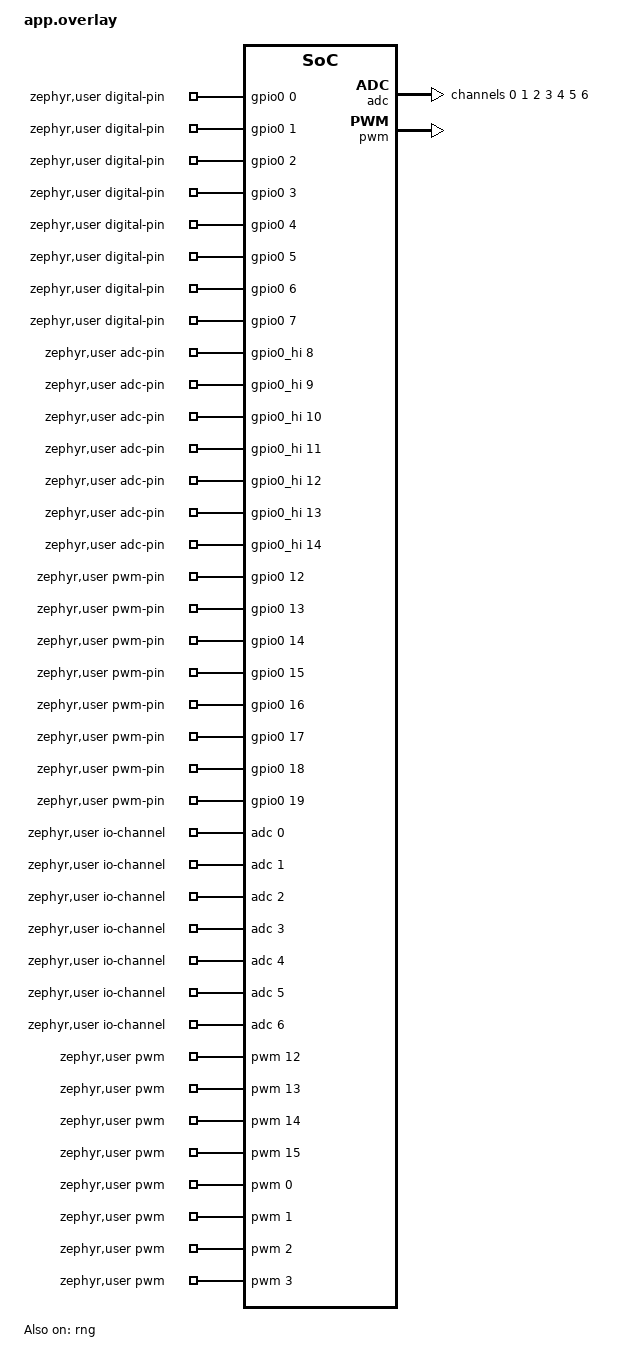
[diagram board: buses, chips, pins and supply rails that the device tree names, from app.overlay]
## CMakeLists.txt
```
# SPDX-License-Identifier: MIT
cmake_minimum_required(VERSION 3.28.0)
list(APPEND BOARD_ROOT "${CMAKE_CURRENT_SOURCE_DIR}/../zephyr")
find_package(Zephyr REQUIRED HINTS $ENV{ZEPHYR_BASE})
project(xrp_production_smallvm LANGUAGES C CXX ASM)
execute_process(COMMAND git -C ${ZEPHYR_BASE} rev-parse HEAD
  OUTPUT_VARIABLE zephyr_commit OUTPUT_STRIP_TRAILING_WHITESPACE COMMAND_ERROR_IS_FATAL ANY)
if(NOT zephyr_commit STREQUAL "a915b2f12675b48b16d56653ea145dcd8f20cbbf")
  message(FATAL_ERROR "Use the XRP pinned Zephyr revision")
endif()
if(NOT CONFIG_BOARD_SPARKFUN_XRP_RP2350B_M33_0 OR CONFIG_BT)
  message(FATAL_ERROR "Production XRP RP2350B only; Bluetooth unsupported")
endif()
if(NOT SMALLVM_SOURCE_DIR OR NOT EXISTS "${SMALLVM_SOURCE_DIR}/provenance.json")
  message(FATAL_ERROR "Set SMALLVM_SOURCE_DIR to the verified v417 snapshot")
endif()
if(NOT XRP_ARDUINO_DIR OR NOT EXISTS "${XRP_ARDUINO_DIR}/xrp-provenance.json")
  message(FATAL_ERROR "Use tools/prepare_xrp_arduino.py to prepare the isolated Arduino API")
endif()
if(NOT IDE_SOURCE_DIR)
  message(FATAL_ERROR "Set IDE_SOURCE_DIR to the verified GP 2.5.8 assets")
endif()
set(repo ${CMAKE_CURRENT_SOURCE_DIR}/../../..)
set(vm_root ${CMAKE_CURRENT_BINARY_DIR}/smallvm)
set(web_root ${CMAKE_CURRENT_BINARY_DIR}/web-xrp)
set(http_root ${CMAKE_CURRENT_BINARY_DIR}/xrp-http)
# Optional verified touch-editor cache; no network access during packaging.
set(mobile_args)
if(MOBILE_EDITOR_SOURCE_DIR)
  list(APPEND mobile_args --mobile-source "${MOBILE_EDITOR_SOURCE_DIR}")
endif()
execute_process(COMMAND ${Python3_EXECUTABLE} ${repo}/tools/prepare_xrp_http.py
  --zephyr ${ZEPHYR_BASE} --output ${http_root} COMMAND_ERROR_IS_FATAL ANY)
if(NOT TARGET subsys__net__lib__http)
  message(FATAL_ERROR "Expected pinned Zephyr HTTP target")
endif()
get_target_property(http_sources subsys__net__lib__http SOURCES)
get_target_property(http_source_dir subsys__net__lib__http SOURCE_DIR)
set(xrp_http_sources)
foreach(source IN LISTS http_sources)
  get_filename_component(name "${source}" NAME)
  if(name STREQUAL "http_server_http1.c" OR name STREQUAL "http_server_core.c")
    list(APPEND xrp_http_sources "${http_root}/${name}")
  elseif(IS_ABSOLUTE "${source}" OR source MATCHES "^\\$<")
    list(APPEND xrp_http_sources "${source}")
  else()
    list(APPEND xrp_http_sources "${http_source_dir}/${source}")
  endif()
endforeach()
set_property(TARGET subsys__net__lib__http PROPERTY SOURCES "${xrp_http_sources}")
target_include_directories(subsys__net__lib__http PRIVATE ${http_source_dir})
execute_process(COMMAND ${Python3_EXECUTABLE} ${repo}/tools/prepare_smallvm.py
  ${SMALLVM_SOURCE_DIR} ${vm_root} --strict-digital-arity COMMAND_ERROR_IS_FATAL ANY)
execute_process(COMMAND ${Python3_EXECUTABLE} ${repo}/tools/prepare_xrp_runtime.py
  ${vm_root} COMMAND_ERROR_IS_FATAL ANY)
execute_process(COMMAND ${Python3_EXECUTABLE} ${repo}/tools/package_xrp_ide.py
  ${IDE_SOURCE_DIR} ${web_root} ${mobile_args} COMMAND_ERROR_IS_FATAL ANY)
target_include_directories(app PRIVATE ${vm_root} ${vm_root}/vm src ${repo}/common)
target_compile_definitions(app PRIVATE SMALLVM_ZEPHYR=1)
target_sources(app PRIVATE src/main.cpp src/platform.c src/transport.c src/io.cpp
  src/generic_primitives.c src/program_store.c src/safety.c src/provisioning.c
  src/server.c src/websocket.c src/capture.c
  ${repo}/common/network_setup.c ${repo}/common/network_setup_store.c
  ${repo}/common/zephyr_network_store.c
  ${web_root}/assets.c ${web_root}/assets.S
  ${vm_root}/vm/encoderPrims.cpp
  ${vm_root}/vm/interp.c ${vm_root}/vm/runtime.c ${vm_root}/vm/mem.c
  ${vm_root}/vm/persist.c ${vm_root}/vm/dataPrims.c ${vm_root}/vm/varPrims.c
  ${vm_root}/vm/tinyJSON.c ${vm_root}/vm/mbFont.c ${vm_root}/vm/boardHooks.c)
zephyr_linker_sources(SECTIONS sections-rom.ld)
zephyr_linker_section(NAME http_resource_desc_mb_http KVMA RAM_REGION GROUP RODATA_REGION)
```

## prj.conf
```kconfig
CONFIG_ARDUINO_API=y
CONFIG_ARDUINO_ENTRY=n
CONFIG_CPP=y
CONFIG_REQUIRES_FULL_LIBC=y
CONFIG_GPIO=y
CONFIG_ADC=y
CONFIG_PWM=y
CONFIG_I2C=y
CONFIG_SPI=y
CONFIG_FLASH=y
CONFIG_FLASH_MAP=y
CONFIG_FLASH_PAGE_LAYOUT=y
CONFIG_CRC=y
CONFIG_MAIN_STACK_SIZE=8192
CONFIG_HEAP_MEM_POOL_SIZE=32768
CONFIG_SYSTEM_WORKQUEUE_STACK_SIZE=2048
CONFIG_SERIAL=y
CONFIG_UART_INTERRUPT_DRIVEN=y
CONFIG_UART_LINE_CTRL=y
CONFIG_USB_DEVICE_STACK_NEXT=y
CONFIG_CDC_ACM_SERIAL_INITIALIZE_AT_BOOT=y
CONFIG_CDC_ACM_SERIAL_PID=0x0004
CONFIG_CDC_ACM_SERIAL_PRODUCT_STRING="XRP RP2350 SmallVM actuators locked"
CONFIG_CONSOLE=n
CONFIG_UART_CONSOLE=n
CONFIG_PRINTK=n
CONFIG_LOG=n
CONFIG_SHELL=n
CONFIG_BOOT_BANNER=n
CONFIG_BT=n
CONFIG_NETWORKING=y
CONFIG_WIFI=y
CONFIG_WHD_WIFI_COUNTRY="WHD_COUNTRY_CANADA"
CONFIG_WIFI_USAGE_MODE_STA=y
CONFIG_NET_L2_WIFI_MGMT=y
CONFIG_NET_MGMT=y
CONFIG_NET_MGMT_EVENT=y
CONFIG_NET_MGMT_EVENT_INFO=y
CONFIG_NET_MGMT_EVENT_STACK_SIZE=2048
CONFIG_NET_IPV4=y
CONFIG_NET_IPV6=n
CONFIG_NET_DHCPV4=y
CONFIG_NET_DHCPV4_INITIAL_DELAY_MAX=2
CONFIG_NET_TCP=y
CONFIG_NET_UDP=y
CONFIG_NET_SOCKETS=y
CONFIG_NET_CONTEXT_SNDTIMEO=y
CONFIG_ZVFS_POLL_MAX=10
CONFIG_NET_MAX_CONTEXTS=12
CONFIG_NET_MAX_CONN=12
CONFIG_NET_PKT_RX_COUNT=8
CONFIG_NET_PKT_TX_COUNT=8
CONFIG_NET_BUF_RX_COUNT=32
CONFIG_NET_BUF_TX_COUNT=32
CONFIG_NET_BUF_DATA_SIZE=256
CONFIG_HTTP_SERVER=y
CONFIG_HTTP_SERVER_VERSION_2=n
CONFIG_HTTP_SERVER_MAX_CLIENTS=4
CONFIG_HTTP_SERVER_CLIENT_BUFFER_SIZE=2048
CONFIG_HTTP_SERVER_MAX_URL_LENGTH=192
CONFIG_HTTP_SERVER_MAX_HEADER_LEN=512
CONFIG_HTTP_SERVER_CLIENT_INACTIVITY_TIMEOUT=60
CONFIG_HTTP_SERVER_CAPTURE_HEADERS=y
CONFIG_HTTP_SERVER_CAPTURE_HEADER_COUNT=4
CONFIG_HTTP_SERVER_CAPTURE_HEADER_BUFFER_SIZE=256
CONFIG_HTTP_SERVER_WEBSOCKET=y
CONFIG_WEBSOCKET_MAX_CONTEXTS=1
CONFIG_HTTP_SERVER_STACK_SIZE=4096
CONFIG_ENTROPY_GENERATOR=y
```

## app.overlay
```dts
/* SPDX-License-Identifier: MIT */
#include <zephyr/dt-bindings/adc/adc.h>
#include <zephyr/dt-bindings/pwm/pwm.h>
/ {
    chosen { zephyr,entropy = &rng; };
    zephyr,user {
        i2cs = <&i2c1>, <&i2c0>;
        digital-pin-gpios = <&gpio0 0 0>, <&gpio0 1 0>, <&gpio0 2 0>, <&gpio0 3 0>, <&gpio0 4 0>, <&gpio0 5 0>, <&gpio0 6 0>, <&gpio0 7 0>, <&gpio0 8 0>, <&gpio0 9 0>, <&gpio0 10 0>, <&gpio0 11 0>, <&gpio0 12 0>, <&gpio0 13 0>, <&gpio0 14 0>, <&gpio0 15 0>, <&gpio0 16 0>, <&gpio0 17 0>, <&gpio0 18 0>, <&gpio0 19 0>, <&gpio0 20 0>, <&gpio0 21 0>, <&gpio0 22 0>, <&gpio0 23 0>, <&gpio0 24 0>, <&gpio0 25 0>, <&gpio0 26 0>, <&gpio0 27 0>, <&gpio0 28 0>, <&gpio0 29 0>, <&gpio0 30 0>, <&gpio0 31 0>, <&gpio0_hi 0 0>, <&gpio0_hi 1 0>, <&gpio0_hi 2 0>, <&gpio0_hi 3 0>, <&gpio0_hi 4 0>, <&gpio0_hi 5 0>, <&gpio0_hi 6 0>, <&gpio0_hi 7 0>, <&gpio0_hi 8 0>, <&gpio0_hi 9 0>, <&gpio0_hi 10 0>, <&gpio0_hi 11 0>, <&gpio0_hi 12 0>, <&gpio0_hi 13 0>, <&gpio0_hi 14 0>, <&gpio0_hi 15 0>;
        adc-pin-gpios = <&gpio0_hi 8 0>, <&gpio0_hi 9 0>, <&gpio0_hi 10 0>, <&gpio0_hi 11 0>, <&gpio0_hi 12 0>, <&gpio0_hi 13 0>, <&gpio0_hi 14 0>;
        io-channels = <&adc 0>, <&adc 1>, <&adc 2>, <&adc 3>, <&adc 4>, <&adc 5>, <&adc 6>;
        pwm-pin-gpios = <&gpio0 12 0>, <&gpio0 13 0>, <&gpio0 14 0>, <&gpio0 15 0>, <&gpio0 16 0>, <&gpio0 17 0>, <&gpio0 18 0>, <&gpio0 19 0>;
        pwms = <&pwm 12 PWM_USEC(1000) PWM_POLARITY_NORMAL>, <&pwm 13 PWM_USEC(1000) PWM_POLARITY_NORMAL>, <&pwm 14 PWM_USEC(1000) PWM_POLARITY_NORMAL>, <&pwm 15 PWM_USEC(1000) PWM_POLARITY_NORMAL>, <&pwm 0 PWM_USEC(1000) PWM_POLARITY_NORMAL>, <&pwm 1 PWM_USEC(1000) PWM_POLARITY_NORMAL>, <&pwm 2 PWM_USEC(1000) PWM_POLARITY_NORMAL>, <&pwm 3 PWM_USEC(1000) PWM_POLARITY_NORMAL>;
    };
};
&zephyr_udc0 { mb_cdc: mb_cdc { compatible="zephyr,cdc-acm-uart"; }; };
/* Required default states initialize the peripherals without claiming GPIO.
 * The isolated Arduino bridge selects only the requested pin at runtime. */
&pinctrl {
    xrp_adc_idle: xrp_adc_idle {};
    xrp_pwm_idle: xrp_pwm_idle {};
};
&adc { #address-cells=<1>; #size-cells=<0>; status="okay";
    pinctrl-0 = <&xrp_adc_idle>;
    pinctrl-names = "default";
        channel@0 { reg=<0>; zephyr,gain="ADC_GAIN_1"; zephyr,reference="ADC_REF_VDD_1"; zephyr,acquisition-time=<ADC_ACQ_TIME_DEFAULT>; zephyr,resolution=<12>; };
        channel@1 { reg=<1>; zephyr,gain="ADC_GAIN_1"; zephyr,reference="ADC_REF_VDD_1"; zephyr,acquisition-time=<ADC_ACQ_TIME_DEFAULT>; zephyr,resolution=<12>; };
        channel@2 { reg=<2>; zephyr,gain="ADC_GAIN_1"; zephyr,reference="ADC_REF_VDD_1"; zephyr,acquisition-time=<ADC_ACQ_TIME_DEFAULT>; zephyr,resolution=<12>; };
        channel@3 { reg=<3>; zephyr,gain="ADC_GAIN_1"; zephyr,reference="ADC_REF_VDD_1"; zephyr,acquisition-time=<ADC_ACQ_TIME_DEFAULT>; zephyr,resolution=<12>; };
        channel@4 { reg=<4>; zephyr,gain="ADC_GAIN_1"; zephyr,reference="ADC_REF_VDD_1"; zephyr,acquisition-time=<ADC_ACQ_TIME_DEFAULT>; zephyr,resolution=<12>; };
        channel@5 { reg=<5>; zephyr,gain="ADC_GAIN_1"; zephyr,reference="ADC_REF_VDD_1"; zephyr,acquisition-time=<ADC_ACQ_TIME_DEFAULT>; zephyr,resolution=<12>; };
        channel@6 { reg=<6>; zephyr,gain="ADC_GAIN_1"; zephyr,reference="ADC_REF_VDD_1"; zephyr,acquisition-time=<ADC_ACQ_TIME_DEFAULT>; zephyr,resolution=<12>; };
};
&pwm {
    status="okay";
    pinctrl-0 = <&xrp_pwm_idle>;
    pinctrl-names = "default";
};
&rng { status="okay"; };
```

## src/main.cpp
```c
// SPDX-License-Identifier: MPL-2.0
#include <Arduino.h>
#include "vm/interp.h"
#include "vm/persist.h"
#include "xrp.h"
#include "provisioning.h"
volatile int xrp_status;
int main(void)
{
    hardwareInit();memInit();primsInit();
    xrp_status=mb_store_load();restoreScripts();startAll();
    int e=xrp_transport_init();if(e){xrp_status=e;return e;}
    xrp_provision_start();
    for(;;){xrp_transport_poll();vmSlice(16);mb_store_poll();k_sleep(K_MSEC(1));}
}
```

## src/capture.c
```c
/* SPDX-License-Identifier: MPL-2.0
 * Pulse-list contract follows SmallVM v417 sensorPrims. Only production XRP
 * echo GPIO1 is accepted, with bounded storage and no VM-thread busy wait. */
#include "vm/interp.h"
#include <zephyr/drivers/gpio.h>
#include <zephyr/kernel.h>

static const struct device *const port=DEVICE_DT_GET(DT_NODELABEL(gpio0));
static struct gpio_callback callback;
static volatile unsigned count;
static volatile bool active;
static uint32_t last_edge;
static int32_t durations[4];
static bool initialized;
static uint32_t now_us(void) { return microsecs(); }
void xrp_capture_stop(void)
{
    active=false;
    if(device_is_ready(port))gpio_pin_interrupt_configure(port,1,GPIO_INT_DISABLE);
}
static void edge(const struct device *dev,struct gpio_callback *cb,uint32_t pins)
{
    ARG_UNUSED(dev);ARG_UNUSED(cb);ARG_UNUSED(pins);
    if(!active || count>=ARRAY_SIZE(durations))return;
    uint32_t now=now_us(),delta=now-last_edge;
    if(delta>30000){xrp_capture_stop();return;}
    int level=gpio_pin_get(port,1);
    if(level<0){xrp_capture_stop();return;}
    durations[count++]=level ? -(int32_t)delta : (int32_t)delta;last_edge=now;
    if(count==ARRAY_SIZE(durations))xrp_capture_stop();
}
OBJ xrp_capture_start(int n,OBJ *a)
{
    if(n!=1)return fail(notEnoughArguments);
    if(!isInt(a[0]))return fail(needsIntegerError);
    if(obj2int(a[0])!=1)return fail(badPinError);
    xrp_capture_stop();
    if(!device_is_ready(port))return fail(primitiveNotImplemented);
    int e=gpio_pin_configure(port,1,GPIO_INPUT);
    if(!e && !initialized){gpio_init_callback(&callback,edge,BIT(1));e=gpio_add_callback(port,&callback);if(!e)initialized=true;}
    if(e)return fail(primitiveNotImplemented);
    unsigned key=irq_lock();count=0;last_edge=now_us();active=true;
    e=gpio_pin_interrupt_configure(port,1,GPIO_INT_EDGE_BOTH);irq_unlock(key);
    if(e){active=false;return fail(primitiveNotImplemented);}return trueObj;
}
OBJ xrp_capture_count(int n,OBJ *a)
{ (void)a;return n ? fail(notEnoughArguments) : int2obj(count); }
OBJ xrp_capture_end(int n,OBJ *a)
{
    (void)a;if(n)return fail(notEnoughArguments);
    unsigned key=irq_lock();xrp_capture_stop();unsigned used=count;count=0;irq_unlock(key);
    OBJ out=newObj(ListType,used+1,falseObj);if(!out)return falseObj;
    FIELD(out,0)=int2obj(used);
    for(unsigned i=0;i<used;++i)FIELD(out,i+1)=int2obj(durations[i]);
    return out;
}
```

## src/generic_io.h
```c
/* SPDX-License-Identifier: MIT */
#pragma once
#include <stddef.h>
#include <stdint.h>
#include <stdbool.h>
#ifdef __cplusplus
extern "C" {
#endif
int xrp_io_i2c_get(unsigned address, unsigned reg, uint8_t *value);
int xrp_io_i2c_set(unsigned address, unsigned reg, uint8_t value);
int xrp_io_i2c_read(unsigned address, uint8_t *data, size_t count);
int xrp_io_i2c_write(unsigned address, const uint8_t *data, size_t count, bool stop);
int xrp_io_i2c_exists(unsigned address);
void xrp_io_i2c_cancel(void);
int xrp_io_spi_setup(unsigned hz, unsigned mode, bool lsb);
int xrp_io_spi_transfer(const uint8_t *tx, uint8_t *rx, size_t count);
int xrp_io_analog_read(unsigned pin, unsigned mode, int *value);
int xrp_io_pwm_write(unsigned pin, unsigned value);
void xrp_io_pwm_stop(void);
void xrp_io_prepare_gpio(unsigned pin);
int xrp_io_info(char *dst, unsigned size);
#ifdef __cplusplus
}
#endif
```

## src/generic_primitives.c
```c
/* SPDX-License-Identifier: MPL-2.0 */
/* Adapted from the Waveshare port; board source remains independent.
 * Native opcode contracts follow the verified v417 ioPrims/sensorPrims.
 * Zephyr-facing operations are separate so this exact adapter can be tested
 * with the real 32-bit VM object representation and simulated drivers. */
#include "vm/interp.h"
#include "generic_io.h"
#include <string.h>

static OBJ i2c_failure(int error)
{
    xrp_io_i2c_cancel();
    return fail(error);
}

OBJ primI2cGet(OBJ *args)
{
    xrp_io_i2c_cancel();
    if (!isInt(args[0]) || !isInt(args[1])) return fail(needsIntegerError);
    int address=obj2int(args[0]), reg=obj2int(args[1]);
    if (address<0 || address>127) return fail(i2cDeviceIDOutOfRange);
    if (reg<0 || reg>255) return fail(i2cRegisterIDOutOfRange);
    uint8_t value;
    return xrp_io_i2c_get(address,reg,&value) ? fail(i2cTransferFailed) : int2obj(value);
}

OBJ primI2cSet(OBJ *args)
{
    xrp_io_i2c_cancel();
    if (!isInt(args[0]) || !isInt(args[1]) || !isInt(args[2])) return fail(needsIntegerError);
    int address=obj2int(args[0]), reg=obj2int(args[1]), value=obj2int(args[2]);
    if (address<0 || address>127) return fail(i2cDeviceIDOutOfRange);
    if (reg<0 || reg>255) return fail(i2cRegisterIDOutOfRange);
    if (value<0 || value>255) return fail(i2cValueOutOfRange);
    return xrp_io_i2c_set(address,reg,value) ? fail(i2cTransferFailed) : falseObj;
}

OBJ primSPISend(OBJ *args)
{
    uint8_t byte;
    const uint8_t *data;
    size_t count;
    if (isInt(args[0])) {
        int value=obj2int(args[0]);
        if (value<0 || value>255) return fail(i2cValueOutOfRange);
        byte=value;data=&byte;count=1;
    } else if (IS_TYPE(args[0],ByteArrayType)) {
        data=(const uint8_t *)&FIELD(args[0],0);count=BYTES(args[0]);
        if (count>256) return fail(indexOutOfRangeError);
    } else return fail(needsIntegerError);
    if (!count) return falseObj;
    return xrp_io_spi_transfer(data,NULL,count) ? fail(primitiveNotImplemented) : falseObj;
}

OBJ primSPIRecv(OBJ *args)
{
    (void)args;
    uint8_t zero=0, value;
    return xrp_io_spi_transfer(&zero,&value,1) ? fail(primitiveNotImplemented) : int2obj(value);
}

OBJ primAnalogRead(int argc, OBJ *args)
{
    if (argc<1 || argc>2) return fail(notEnoughArguments);
    if (!isInt(args[0])) return fail(needsIntegerError);
    int pin=obj2int(args[0]);
    if (pin<40 || pin>46) return fail(badPinError);
    unsigned mode=0;
    if (argc==2) {
        if (args[1]==trueObj) mode=1;
        else if (IS_TYPE(args[1],StringType)) {
            if (!strcmp(obj2str(args[1]),"up")) mode=1;
            else if (!strcmp(obj2str(args[1]),"down")) mode=2;
        }
    }
    int value;
    return xrp_io_analog_read(pin,mode,&value) ? fail(primitiveNotImplemented) : int2obj(value);
}

void primAnalogWrite(OBJ *args)
{
    if (!isInt(args[0]) || !isInt(args[1])) { fail(needsIntegerError);return; }
    if (obj2int(args[0])<0 || obj2int(args[0])>=48) { fail(badPinError);return; }
    int value=obj2int(args[1]);
    if (value<0) value=0;
    if (value>1023) value=1023;
    if (xrp_io_pwm_write(obj2int(args[0]),value)) fail(primitiveNotImplemented);
}

static OBJ spi_setup(int argc, OBJ *args)
{
    if (argc<1 || argc>4) return fail(notEnoughArguments);
    if (!isInt(args[0]) || (argc>1 && !isInt(args[1])) || (argc>2 && !isInt(args[2])))
        return fail(needsIntegerError);
    int hz=obj2int(args[0]),mode=argc>1 ? obj2int(args[1]) : 0;
    if (hz<10000 || hz>8000000 || mode<0 || mode>3) return fail(indexOutOfRangeError);
    if (argc>2 && obj2int(args[2])!=0) return fail(badPinError);
    bool lsb=false;
    if (argc>3) {
        if (!IS_TYPE(args[3],StringType)) return fail(needsStringError);
        if (!strcmp(obj2str(args[3]),"LSB")) lsb=true;
        else if (strcmp(obj2str(args[3]),"MSB")) return fail(indexOutOfRangeError);
    }
    return xrp_io_spi_setup(hz,mode,lsb) ? fail(primitiveNotImplemented) : falseObj;
}

static OBJ spi_exchange(int argc, OBJ *args)
{
    if (argc!=1) return fail(notEnoughArguments);
    if (!IS_TYPE(args[0],ByteArrayType)) return fail(needsByteArray);
    size_t count=BYTES(args[0]);
    if (count>256) return fail(indexOutOfRangeError);
    if (!count) return falseObj;
    uint8_t *data=(uint8_t *)&FIELD(args[0],0);
    return xrp_io_spi_transfer(data,data,count) ? fail(primitiveNotImplemented) : falseObj;
}

/* List storage includes a tagged logical count followed by its elements. */
static int list_count(OBJ list)
{
    if (!WORDS(list) || !isInt(FIELD(list,0))) return -1;
    int count=obj2int(FIELD(list,0));
    return count<0 || count>=WORDS(list) ? -1 : count;
}

static OBJ i2c_exists(int argc, OBJ *args)
{
    xrp_io_i2c_cancel();
    if (argc<1 || !isInt(args[0])) return falseObj;
    int address=obj2int(args[0]);
    if (address<0 || address>127) return falseObj;
    return xrp_io_i2c_exists(address) ? falseObj : trueObj;
}

static OBJ i2c_read(int argc, OBJ *args)
{
    if (argc<2 || !isInt(args[0])) { xrp_io_i2c_cancel();return zeroObj; }
    int address=obj2int(args[0]);
    if (address<0 || address>127) return i2c_failure(i2cDeviceIDOutOfRange);
    OBJ target=args[1];
    bool list=IS_TYPE(target,ListType);
    int count;
    if (list) count=list_count(target);
    else if (IS_TYPE(target,ByteArrayType)) count=BYTES(target);
    else return i2c_failure(needsByteArray);
    if (count<0) return i2c_failure(indexOutOfRangeError);
    if (!count) return zeroObj;
    if (count>32) count=32;
    uint8_t data[32];
    /* Preserve v417's bounded-count/255-fill contract on failed reads. */
    if (xrp_io_i2c_read(address,data,count)) memset(data,255,count);
    if (list) {
        for (int i=0;i<count;++i) FIELD(target,i+1)=int2obj(data[i]);
    } else memcpy(&FIELD(target,0),data,count);
    return int2obj(count);
}

static OBJ i2c_write(int argc, OBJ *args)
{
    if (argc<2 || !isInt(args[0])) { xrp_io_i2c_cancel();return zeroObj; }
    int address=obj2int(args[0]);
    if (address<0 || address>127) return i2c_failure(i2cDeviceIDOutOfRange);
    OBJ source=args[1];
    uint8_t data[32];
    int count;
    if (isInt(source)) {
        int value=obj2int(source);
        if (value<0 || value>255) return i2c_failure(i2cValueOutOfRange);
        data[0]=value;count=1;
    } else if (IS_TYPE(source,ListType)) {
        count=list_count(source);
        if (count<0 || count>32) return i2c_failure(indexOutOfRangeError);
        for (int i=0;i<count;++i) {
            OBJ item=FIELD(source,i+1);
            if (!isInt(item) || obj2int(item)<0 || obj2int(item)>255) return i2c_failure(i2cValueOutOfRange);
            data[i]=obj2int(item);
        }
    } else if (IS_TYPE(source,ByteArrayType) || IS_TYPE(source,StringType)) {
        count=IS_TYPE(source,ByteArrayType) ? BYTES(source) : strlen(obj2str(source));
        if (count>32) return i2c_failure(indexOutOfRangeError);
        memcpy(data,&FIELD(source,0),count);
    } else return i2c_failure(needsByteArray);
    if (!count) { xrp_io_i2c_cancel();return falseObj; }
    bool stop=argc<3 || args[2]==trueObj;
    return xrp_io_i2c_write(address,data,count,stop) ? i2c_failure(i2cTransferFailed) : falseObj;
}

OBJ xrp_capture_start(int,OBJ *);
OBJ xrp_capture_count(int,OBJ *);
OBJ xrp_capture_end(int,OBJ *);
static PrimEntry generic_sensor_entries[] = {
    {"captureStart",xrp_capture_start}, {"captureCount",xrp_capture_count}, {"captureEnd",xrp_capture_end},
    {"spiSetup",spi_setup}, {"spiExchange",spi_exchange},
    {"i2cExists",i2c_exists}, {"i2cRead",i2c_read}, {"i2cWrite",i2c_write}
};

void addSensorPrims(void)
{
    addPrimitiveSet(SensorPrims,"sensors",sizeof(generic_sensor_entries)/sizeof(generic_sensor_entries[0]),generic_sensor_entries);
}
```

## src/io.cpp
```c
/* SPDX-License-Identifier: MIT */
#include "generic_io.h"
#include "xrp.h"
#include "vm/interp.h"
#include <Arduino.h>
#include <Wire.h>
#include <zephyr/drivers/i2c.h>
#include <zephyr/drivers/pwm.h>
#include <errno.h>
#include <stdio.h>
#include <string.h>
#ifndef ARDUINO_SPARKFUN_XRP_ZEPHYR
#error "The isolated XRP Arduino variant is required"
#endif
static_assert(NUM_OF_DIGITAL_PINS == 48, "Raw XRP mapping changed");
static const device *const bus = DEVICE_DT_GET(DT_NODELABEL(i2c1));
static const device *const hi = DEVICE_DT_GET(DT_NODELABEL(gpio0_hi));
static const device *const pwm = DEVICE_DT_GET(DT_NODELABEL(pwm));
static const device *const adc = DEVICE_DT_GET(DT_NODELABEL(adc));
/* SDK PWM_GPIO_SLICE_NUM: GPIO16..31 alias slices0..7. */
static unsigned pwm_channel(unsigned p) { return p & 15u; }
static int last_error;
static uint8_t pending_data[32];
static size_t pending_count;
static unsigned pending_address;
K_MUTEX_DEFINE(adc_job_lock);
K_SEM_DEFINE(adc_request,0,1);
K_SEM_DEFINE(adc_done,0,1);
static bool adc_busy,adc_finished,adc_abandoned;
static unsigned adc_pin;
static int adc_value,adc_error;
static void adc_worker(void *a,void *b,void *c)
{
    (void)a;(void)b;(void)c;
    for(;;){
        k_sem_take(&adc_request,K_FOREVER);
        k_mutex_lock(&adc_job_lock,K_FOREVER);unsigned pin=adc_pin;k_mutex_unlock(&adc_job_lock);
        analogReadResolution(10);
        int sample=analogRead(pin);
        int error=sample<0 ? sample : sample>1023 ? -ERANGE : 0;
        k_mutex_lock(&adc_job_lock,K_FOREVER);
        if(adc_abandoned){adc_busy=false;adc_finished=false;}
        else {adc_value=sample;adc_error=error;adc_finished=true;k_sem_give(&adc_done);}
        k_mutex_unlock(&adc_job_lock);
    }
}
K_THREAD_DEFINE(xrp_adc_worker,2048,adc_worker,NULL,NULL,NULL,8,0,0);
static bool output_allowed(unsigned p) { return sparkfun_xrp_output_allowed(p); }
extern "C" void xrp_io_init(void)
{
    xrp_motors_coast();
    if(device_is_ready(hi))gpio_pin_configure(hi,4,GPIO_INPUT | GPIO_PULL_UP);
}
extern "C" int xrp_button(unsigned n)
{
    if(n || !device_is_ready(hi))return -EINVAL;
    int v=gpio_pin_get(hi,4);return v<0 ? v : !v;
}
extern "C" void hardwareInit(void) { initTasks();xrp_io_init();Wire.begin(); }
extern "C" uint32 microsecs(void) { return micros(); }
extern "C" uint32 millisecs(void) { return millis(); }
extern "C" uint64 totalMicrosecs(void) { return k_ticks_to_us_floor64(k_uptime_ticks()); }
extern "C" uint32 seconds(void) { return millis()/1000; }
extern "C" void handleMicosecondClockWrap(void) {}
extern "C" void smallvmDelay(unsigned long ms) { delay(ms); }
extern "C" void lightSleep(int ms) { if(ms>0)delay(ms); }
extern "C" void deepSleep(int sec) { (void)sec;fail(primitiveNotImplemented); }
extern "C" int pinCount(void) { return 48; }
extern "C" int mapDigitalPinNum(int p) { return p>=0 && sparkfun_xrp_pin_allowed(p) ? p : -1; }
extern "C" void setPinMode(int p,int mode) { if(mapDigitalPinNum(p)>=0)pinMode(p,(PinMode)mode); }
extern "C" OBJ primDigitalPins(OBJ *) { return int2obj(48); }
extern "C" OBJ primAnalogPins(OBJ *) { return int2obj(7); }
extern "C" void xrp_io_prepare_gpio(unsigned p) { (void)p; }
extern "C" OBJ primDigitalRead(int n,OBJ *a)
{
    if(n<1)return fail(notEnoughArguments);
    if(!isInt(a[0]))return fail(needsIntegerError);
    int p=mapDigitalPinNum(obj2int(a[0]));if(p<0)return fail(badPinError);
    PinMode mode=INPUT;
    if(n>1 && a[1]==trueObj)mode=INPUT_PULLUP;
    else if(n>1 && IS_TYPE(a[1],StringType)) {
        if(!strcmp(obj2str(a[1]),"up"))mode=INPUT_PULLUP;
        else if(!strcmp(obj2str(a[1]),"down"))mode=INPUT_PULLDOWN;
    }
    pinMode(p,mode);
    int v=gpio_pin_get(digitalPinToPortDevice(p),digitalPinToPinIndex(p));
    return v<0 ? fail(primitiveNotImplemented) : v ? trueObj : falseObj;
}
extern "C" void primDigitalSet(int p,int v)
{
    if(p<0 || !output_allowed(p)){fail(badPinError);return;}
    pinMode(p,OUTPUT);digitalWrite(p,v?HIGH:LOW);
}
extern "C" void primDigitalWrite(OBJ *a)
{ if(!isInt(a[0]))fail(needsIntegerError);else primDigitalSet(obj2int(a[0]),a[1]!=falseObj); }
extern "C" void xrp_io_pwm_stop(void)
{
    if(device_is_ready(pwm))for(unsigned p=12;p<=19;++p){pwm_set(pwm,pwm_channel(p),1000000,0,0);pinMode(p,INPUT);}
    xrp_motors_coast();
}
extern "C" void turnOffPins(void) { xrp_capture_stop();xrp_io_i2c_cancel();xrp_io_pwm_stop(); }
extern "C" int xrp_io_analog_read(unsigned p,unsigned mode,int *v)
{
    if(p<40 || p>46 || mode || !v)return -EINVAL;
    if(!device_is_ready(adc))return last_error=-ENODEV;
    k_mutex_lock(&adc_job_lock,K_FOREVER);
    if(adc_busy){k_mutex_unlock(&adc_job_lock);return last_error=-EBUSY;}
    adc_pin=p;adc_busy=true;adc_finished=false;adc_abandoned=false;
    k_sem_reset(&adc_done);k_sem_give(&adc_request);k_mutex_unlock(&adc_job_lock);
    int wait_error=k_sem_take(&adc_done,K_MSEC(50));
    k_mutex_lock(&adc_job_lock,K_FOREVER);
    int error;
    if(!adc_finished){adc_abandoned=true;error=wait_error ? -ETIMEDOUT : -EIO;}
    else {error=adc_error;if(!error)*v=adc_value;adc_busy=false;adc_finished=false;}
    k_mutex_unlock(&adc_job_lock);
    return last_error=error;
}
extern "C" int xrp_io_pwm_write(unsigned p,unsigned v)
{
    if(p<12 || p>19 || v>1023)return -ENOTSUP;
    if(!device_is_ready(pwm))return -ENODEV;
    int e=pwm_set(pwm,pwm_channel(p),1000000,(uint64_t)v*1000000/1023,0);
    if(!e)sparkfun_xrp_pwm_mux(p);
    return last_error=e;
}
extern "C" void xrp_io_i2c_cancel(void) { pending_count = 0; }
extern "C" int xrp_io_i2c_get(unsigned address, unsigned reg, uint8_t *value)
{
    xrp_io_i2c_cancel();
    if (address > 127 || reg > 255 || !value) return -EINVAL;
    if (!device_is_ready(bus)) return last_error = -ENODEV;
    return last_error = i2c_reg_read_byte(bus, address, reg, value);
}
extern "C" int xrp_io_i2c_set(unsigned address, unsigned reg, uint8_t value)
{
    xrp_io_i2c_cancel();
    if (address > 127 || reg > 255) return -EINVAL;
    if (!device_is_ready(bus)) return last_error = -ENODEV;
    return last_error = i2c_reg_write_byte(bus, address, reg, value);
}
extern "C" int xrp_io_i2c_read(unsigned address, uint8_t *data, size_t count)
{
    if (address > 127 || count > 32 || (!data && count)) return -EINVAL;
    if (!count) return 0;
    size_t pending = pending_count;
    xrp_io_i2c_cancel();
    if (!device_is_ready(bus)) return last_error = -ENODEV;
    if (pending) {
        if (address != pending_address) return last_error = -EINVAL;
        return last_error = i2c_write_read(bus, address, pending_data, pending, data, count);
    }
    return last_error = i2c_read(bus, data, count, address);
}
extern "C" int xrp_io_i2c_write(unsigned address, const uint8_t *data, size_t count, bool stop)
{
    if (address > 127 || count > 32 || (!data && count)) return -EINVAL;
    if (!count) return 0;
    if (pending_count) { xrp_io_i2c_cancel(); return last_error = -EBUSY; }
    if (!device_is_ready(bus)) return last_error = -ENODEV;
    if (!stop) {
        memcpy(pending_data, data, count); pending_count = count; pending_address = address;
        return last_error = 0;
    }
    return last_error = i2c_write(bus, data, count, address);
}
extern "C" int xrp_io_i2c_exists(unsigned address)
{
    xrp_io_i2c_cancel();
    if (address > 127) return -EINVAL;
    if (!device_is_ready(bus)) return last_error = -ENODEV;
    uint8_t unused = 0;
    return last_error = i2c_write(bus, &unused, 0, address);
}
/* Both onboard SPI buses stay reserved. Never drive SD/AirLift via raw blocks. */
extern "C" int xrp_io_spi_setup(unsigned hz, unsigned mode, bool lsb)
{ (void)hz; (void)mode; (void)lsb; return -ENOTSUP; }
extern "C" int xrp_io_spi_transfer(const uint8_t *tx, uint8_t *rx, size_t count)
{ (void)tx; (void)rx; (void)count; return -ENOTSUP; }

extern "C" int xrp_io_info(char *dst,unsigned n)
{
    snprintf(dst,n,"{\"digital_raw\":true,\"analog_gpio\":[40,41,42,43,44,45,46],\"i2c_gpio\":[38,39],\"actuators_enabled\":false,\"adc_ready\":%s,\"pwm_ready\":%s,\"adc_timeout_ms\":50,\"hardware_tested\":false,\"error\":%d}",device_is_ready(adc)?"true":"false",device_is_ready(pwm)?"true":"false",last_error);
    return 0;
}
```

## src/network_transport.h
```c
/* SPDX-License-Identifier: MPL-2.0 */
#pragma once
#include <stdbool.h>
#include <stdint.h>
#include <stddef.h>
int xrp_ws_request(void);
bool xrp_ws_connected(void);
void xrp_ws_close(void);
int xrp_ws_input(const uint8_t *data,size_t size);
int xrp_ws_output(uint8_t *data,size_t size);
bool xrp_wifi_setup_local(void);
```

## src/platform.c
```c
/* SPDX-License-Identifier: MPL-2.0 */
#include "vm/interp.h"
#include "xrp.h"
#include "generic_io.h"
#include "provisioning.h"
#include <stdlib.h>
#include <string.h>
int useTFT,mbDisplayColor,resetDoubleTap,wifiActive,isCodingBox,isSpringbotGold;
int BLE_allowShutdown,BLE_connected_to_IDE,bleRunning;
char BLE_ThreeLetterID[4]="---";
const char *boardType(void) { return "XRP RP2350 Zephyr (actuators locked)"; }
void consolePrint(const char *s) { (void)s; }
void consoleReportNum(const char *s,int n) { (void)s;(void)n; }
void processFileMessage(int t,int n,char *p) { if(t==205 && n>=0)xrp_provision_message(p,(unsigned)n); }
void stopPWM(void) { xrp_io_pwm_stop(); }
void stopServos(void) {}
void stopTone(void) {}
void resetRadio(void) {}
void turnOffInternalNeoPixels(void) {  }
void tftClear(void) {}
void tftInit(void) {}
void updateMicrobitDisplay(void) {}
void restartSerial(void) {}
void BLE_start(void) {}
void BLE_stop(void) {}
void BLE_setEnabled(int n) { (void)n; }
int BLE_isEnabled(void) { return 0; }
int displayIsActive(void) { return 0; }
void getMACAddress(uint8 *p) { memset(p, 0, 6); }
OBJ primHexToInt(int n, OBJ *a) {
    if (n < 1) return fail(notEnoughArguments);
    if (!IS_TYPE(a[0], StringType)) return fail(needsStringError);
    return int2obj(strtol(obj2str(a[0]), 0, 16));
}
OBJ primButtonA(OBJ *a) {
    (void)a; int value = xrp_button(0);
    return value < 0 ? fail(primitiveNotImplemented) : value ? trueObj : falseObj;
}
OBJ primButtonB(OBJ *a) {
    (void)a; int value = xrp_button(1);
    return value < 0 ? fail(primitiveNotImplemented) : value ? trueObj : falseObj;
}
#define DISABLED_A(name) OBJ name(OBJ *a) { (void)a; return fail(primitiveNotImplemented); }
#define DISABLED_N(name) OBJ name(int n, OBJ *a) { (void)n; (void)a; return fail(primitiveNotImplemented); }
#define DISABLED_V(name) void name(OBJ *a) { (void)a; fail(primitiveNotImplemented); }
DISABLED_N(primMBDisplay) DISABLED_N(primMBEnableDisplay)
DISABLED_N(primMBPlot) DISABLED_N(primMBUnplot) DISABLED_N(primMBDrawShape) DISABLED_N(primMBShapeForLetter)
DISABLED_N(primMBTiltX) DISABLED_N(primMBTiltY) DISABLED_N(primMBTiltZ) DISABLED_N(primMBTemp)
OBJ primMBDisplayOff(int n, OBJ *a) { (void)n; (void)a; return falseObj; }
void primSetUserLED(OBJ *a) { if (a && a[0] != falseObj) fail(primitiveNotImplemented); }
#define OMIT(name) void name(void) {}
OMIT(addDisplayPrims) OMIT(addFilePrims) OMIT(addMiscPrims)
OMIT(addNetPrims) OMIT(addBLEPrims) OMIT(addRadioPrims)
OMIT(addSerialPrims) OMIT(addTFTPrims) OMIT(addHIDPrims) OMIT(addOneWirePrims)
OMIT(addCameraPrims) OMIT(addSDCardPrims) OMIT(addElecfreaksPrims)
OMIT(addElecfreaksSensorPrims) OMIT(addSoundPrims)


static OBJ io_info(int n,OBJ *a) {
    (void)a;if(n)return fail(notEnoughArguments);
    char text[320];xrp_io_info(text,sizeof(text));return newStringFromBytes(text,strlen(text));
}
static PrimEntry entries[]={{"ioCapabilities",io_info}};
void addIOPrims(void) { addPrimitiveSet(IOPrims,"xrp",1,entries); }
```

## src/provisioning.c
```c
/* SPDX-License-Identifier: MIT */
#include "provisioning.h"
#include "network_setup.h"
#include "zephyr_network_store.h"
#include "network_transport.h"
#include "xrp.h"
#include "vm/interp.h"
#include <zephyr/kernel.h>
#include <zephyr/net/wifi_mgmt.h>
#include <zephyr/net/dhcpv4.h>
#include <zephyr/net/http/server.h>
#include <zephyr/sys/atomic.h>
#include <airoc_wifi.h>
#include <whd_wifi_api.h>
#include <stdio.h>
#include <string.h>

struct job { uint8_t ssid[32],key[64];size_t ssid_length,key_length;bool remember; };
static struct job pending;
static struct mbnw_flash_store store;
static atomic_t busy,storage_ready,join_result;
K_MUTEX_DEFINE(state_lock);
K_SEM_DEFINE(started,0,1);
K_SEM_DEFINE(job_ready,0,1);
K_SEM_DEFINE(join_done,0,1);
static const char *state="starting";
static int last_error;
static char board_ip[NET_IPV4_ADDR_LEN]="0.0.0.0";
static struct net_mgmt_event_callback wifi_events;
static bool server_started;
static int radio_pm_before=-1,radio_pm_after=-1,radio_rssi;
static unsigned boot_attempt;
/* Live programming favors deterministic latency over radio sleep. All WHD
 * calls stay on this worker, never the USB/VM/status thread. The AIROC helper
 * is provided by the exact pinned Zephyr driver used by this target. */
static int radio_awake(void)
{
    whd_interface_t iface=airoc_wifi_get_whd_interface();
    uint32_t before=UINT32_MAX,after=UINT32_MAX;
    if(!iface)return -ENODEV;
    whd_result_t e=whd_wifi_get_powersave_mode(iface,&before);
    if(!e)e=whd_wifi_disable_powersave(iface);
    if(!e)e=whd_wifi_get_powersave_mode(iface,&after);
    k_mutex_lock(&state_lock,K_FOREVER);
    radio_pm_before=before==UINT32_MAX ? -1 : (int)before;
    radio_pm_after=after==UINT32_MAX ? -1 : (int)after;
    k_mutex_unlock(&state_lock);
    return e || after!=0 ? -EIO : 0;
}
int mb_server_start(void);
const char *mb_network_ip(void) { return board_ip; }
static void set_state(const char *s,int error)
{ k_mutex_lock(&state_lock,K_FOREVER);state=s;last_error=error;k_mutex_unlock(&state_lock); }
static void wifi_event(struct net_mgmt_event_callback *cb,uint64_t event,struct net_if *iface)
{
    if(iface!=net_if_get_wifi_sta())return;
    if(event==NET_EVENT_WIFI_CONNECT_RESULT){
        const struct wifi_status *s=cb->info;
        atomic_set(&join_result,s?s->status:-EIO);k_sem_give(&join_done);
    }else if(event==NET_EVENT_WIFI_DISCONNECT_RESULT && !atomic_get(&busy)){
        set_state("disconnected",-ENOTCONN);
    }
}
static int join(struct job *j)
{
    struct net_if *iface=net_if_get_wifi_sta();
    if(!iface || !device_is_ready(net_if_get_device(iface)))return -ENODEV;
    int awake_error=radio_awake();if(awake_error)return awake_error;
    if(server_started){http_server_stop();server_started=false;}
    k_mutex_lock(&state_lock,K_FOREVER);strcpy(board_ip,"0.0.0.0");k_mutex_unlock(&state_lock);
    net_dhcpv4_stop(iface);
    /* Explicit reconnect is USB initiated. Old DHCP addresses must not be
     * mistaken for completion of a new association. */
    net_mgmt(NET_REQUEST_WIFI_DISCONNECT,iface,NULL,0);
    k_sem_reset(&join_done);atomic_set(&join_result,-EINPROGRESS);
    struct wifi_connect_req_params config={
        .ssid=j->ssid,.ssid_length=j->ssid_length,.psk=j->key,.psk_length=j->key_length,
        .security=WIFI_SECURITY_TYPE_PSK,.band=WIFI_FREQ_BAND_2_4_GHZ,
        .channel=WIFI_CHANNEL_ANY,.timeout=15,
    };
    set_state("joining",0);net_if_up(iface);
    int e=net_mgmt(NET_REQUEST_WIFI_CONNECT,iface,&config,sizeof(config));
    if(!e && k_sem_take(&join_done,K_SECONDS(18)))e=-ETIMEDOUT;
    if(!e && atomic_get(&join_result))e=-ECONNREFUSED;
    if(e)goto fail;
    struct wifi_iface_status status={0};
    e=net_mgmt(NET_REQUEST_WIFI_IFACE_STATUS,iface,&status,sizeof(status));
    if(!e && (status.ssid_len!=j->ssid_length || memcmp(status.ssid,j->ssid,j->ssid_length)))e=-ENOTCONN;
    if(e)goto fail;
    set_state("dhcp",0);net_dhcpv4_start(iface);
    for(unsigned i=0;i<100;++i){
        struct net_in_addr *addr=net_if_ipv4_get_global_addr(iface,NET_ADDR_PREFERRED);
        if(addr && addr->s_addr){
            k_mutex_lock(&state_lock,K_FOREVER);
            net_addr_ntop(NET_AF_INET,addr,board_ip,sizeof(board_ip));
            k_mutex_unlock(&state_lock);
            e=mb_server_start();if(e)return e;server_started=true;
            int32_t rssi=0;
            whd_interface_t radio=airoc_wifi_get_whd_interface();
            if(radio && !whd_wifi_get_rssi(radio,&rssi)){
                k_mutex_lock(&state_lock,K_FOREVER);radio_rssi=rssi;k_mutex_unlock(&state_lock);
            }
            if(j->remember){
                e=mbnw_store_save(&store.io,j->ssid,j->ssid_length,j->key,j->key_length);
                if(e){set_state("connected-save-failed",e);return e;}
            }
            set_state("connected",0);return 0;
        }
        k_sleep(K_MSEC(200));
    }
    e=-ETIMEDOUT;
fail:
    net_dhcpv4_stop(iface);net_mgmt(NET_REQUEST_WIFI_DISCONNECT,iface,NULL,0);
    return e;
}
static void worker(void *a,void *b,void *c)
{
    (void)a;(void)b;(void)c;k_sem_take(&started,K_FOREVER);
    int e=mbnw_flash_store_open(&store,DT_MAPPED_PARTITION_ID(DT_NODELABEL(wifi_settings)));
    atomic_set(&storage_ready,e==0);
    net_mgmt_init_event_callback(&wifi_events,wifi_event,
        NET_EVENT_WIFI_CONNECT_RESULT | NET_EVENT_WIFI_DISCONNECT_RESULT);
    net_mgmt_add_event_callback(&wifi_events);
    set_state("usb-setup",e);
    struct mbnw_credentials saved={0};
    if(!e && xrp_button(0)==0 && !mbnw_store_load(&store.io,&saved,NULL)){
        struct job initial={.ssid_length=saved.ssid_length,.key_length=saved.key_length};
        memcpy(initial.ssid,saved.ssid,saved.ssid_length);memcpy(initial.key,saved.key,saved.key_length);
        mbnw_clear(&saved,sizeof(saved));
        atomic_set(&busy,1);
        for(unsigned attempt=1;attempt<=3;++attempt){
            k_mutex_lock(&state_lock,K_FOREVER);boot_attempt=attempt;k_mutex_unlock(&state_lock);
            e=join(&initial);if(!e)break;
            if(attempt<3){set_state("retry-wait",e);k_sleep(K_SECONDS(2));}
        }
        mbnw_clear(&initial,sizeof(initial));
        if(e)set_state("join-failed",e);
        atomic_clear(&busy);
    }
    mbnw_clear(&saved,sizeof(saved));
    atomic_clear(&busy);
    for(;;){
        k_sem_take(&job_ready,K_FOREVER);
        struct job j;
        k_mutex_lock(&state_lock,K_FOREVER);j=pending;mbnw_clear(&pending,sizeof(pending));k_mutex_unlock(&state_lock);
        e=join(&j);mbnw_clear(&j,sizeof(j));
        if(e)set_state("join-failed",e);
        atomic_clear(&busy);
    }
}
K_THREAD_DEFINE(network_worker,6144,worker,NULL,NULL,NULL,8,0,0);
void xrp_provision_start(void) { atomic_set(&busy,1);k_sem_give(&started); }
int xrp_network_status(char *dst,size_t n)
{
    struct net_if *iface=net_if_get_wifi_sta();
    bool radio_ready=iface && device_is_ready(net_if_get_device(iface));
    k_mutex_lock(&state_lock,K_FOREVER);
    int count=snprintf(dst,n,"{\"board\":\"xrp-rp2350\",\"setup_protocol\":2,"
        "\"persistence_supported\":%s,\"radio_ready\":%s,\"radio_pm_before\":%d,\"radio_pm\":%d,\"rssi_dbm\":%d,\"boot_attempt\":%u,\"state\":\"%s\",\"busy\":%s,\"ip\":\"%s\",\"error\":%d,\"actuators_enabled\":false}",
        atomic_get(&storage_ready)?"true":"false",radio_ready?"true":"false",radio_pm_before,radio_pm_after,radio_rssi,boot_attempt,state,atomic_get(&busy)?"true":"false",board_ip,last_error);
    k_mutex_unlock(&state_lock);return count<0 || (size_t)count>=n ? -ENOBUFS : 0;
}
void xrp_provision_message(char *body,unsigned size)
{
    struct mbnw_request r;
    int e=mbnw_decode((uint8_t *)body,size,&r);
    if(!e)e=mbnw_authorize(&r,xrp_wifi_setup_local(),atomic_get(&storage_ready));
    if(!e && r.operation==MBNW_CONNECT){
        if(!atomic_cas(&busy,0,1))e=-EBUSY;
        else{
            k_mutex_lock(&state_lock,K_FOREVER);
            pending=(struct job){.ssid_length=r.ssid_length,.key_length=r.key_length,.remember=(r.flags&MBNW_REMEMBER)!=0};
            memcpy(pending.ssid,r.ssid,r.ssid_length);memcpy(pending.key,r.key,r.key_length);
            k_mutex_unlock(&state_lock);k_sem_give(&job_ready);
        }
    }
    mbnw_clear(body,size);
    if(!r.id)return;
    char status[384],response[512];if(xrp_network_status(status,sizeof(status)))return;
    int n=snprintf(response,sizeof(response),"{\"request\":%u,\"accepted\":%s,\"command_error\":%d,\"status\":%s}",r.id,e?"false":"true",e,status);
    if(n>0 && (size_t)n<sizeof(response) && hasOutputSpace(n+5))waitAndSendMessage(205,0,n,response);
}
```

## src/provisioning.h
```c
/* SPDX-License-Identifier: MIT */
#pragma once
#include <stddef.h>
#ifdef __cplusplus
extern "C" {
#endif
void xrp_provision_start(void);
void xrp_provision_message(char *,unsigned);
int xrp_network_status(char *,size_t);
const char *mb_network_ip(void);
#ifdef __cplusplus
}
#endif
```

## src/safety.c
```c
/* SPDX-License-Identifier: MIT */
#include <zephyr/drivers/gpio.h>
#include "xrp.h"
#define MOTOR(n) GPIO_DT_SPEC_GET_BY_IDX(DT_PATH(zephyr_user),motor_input_gpios,n)
static const struct gpio_dt_spec motors[]={MOTOR(0),MOTOR(1),MOTOR(2),MOTOR(3),MOTOR(4),MOTOR(5),MOTOR(6),MOTOR(7)};
void xrp_motors_coast(void)
{
    for(unsigned i=0;i<ARRAY_SIZE(motors);++i)
        if(device_is_ready(motors[i].port))gpio_pin_configure_dt(&motors[i],GPIO_OUTPUT_INACTIVE);
}
```

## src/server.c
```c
/* SPDX-License-Identifier: MIT */
#include "server.h"
#include "provisioning.h"
#include <zephyr/net/http/service.h>
#include <zephyr/kernel.h>
#include <zephyr/sys/sys_heap.h>
#include <zephyr/sys/atomic.h>
#include <zephyr/net/socket.h>
#include <sys/time.h>
#include <string.h>
#include <strings.h>
#include <stdio.h>

static uint16_t port = 80;
HTTP_SERVICE_DEFINE(mb_http, NULL, &port, 4, 4, NULL, NULL, NULL);
HTTP_SERVER_REGISTER_HEADER_CAPTURE(origin_header, "Origin");
HTTP_SERVER_REGISTER_HEADER_CAPTURE(host_header, "Host");
static char content_policy[384];

static const struct http_header asset_headers[] = {
    {"Cross-Origin-Opener-Policy", "same-origin"},
    {"Cross-Origin-Embedder-Policy", "require-corp"},
    {"X-Content-Type-Options", "nosniff"},
    {"Cache-Control", "no-cache"},
    {"Referrer-Policy", "no-referrer"},
    {"Content-Security-Policy", content_policy},
};
static const struct http_header gzip_headers[] = {
    {"Content-Encoding", "gzip"},
    {"Cross-Origin-Opener-Policy", "same-origin"},
    {"Cross-Origin-Embedder-Policy", "require-corp"},
    {"X-Content-Type-Options", "nosniff"},
    {"Cache-Control", "no-cache"},
    {"Referrer-Policy", "no-referrer"},
    {"Content-Security-Policy", content_policy},
};

#define ASSET_CHUNK_BYTES 2048u
struct asset_transfer {
    struct http_client_ctx *client;
    const struct mb_asset *asset;
    size_t offset;
};
static struct asset_transfer transfers[CONFIG_HTTP_SERVER_MAX_CLIENTS];
K_MUTEX_DEFINE(asset_transfers_lock);
static atomic_t asset_completed, asset_aborted;

int mb_asset_handler(struct http_client_ctx *client, enum http_transaction_status status,
                     const struct http_request_ctx *request,
                     struct http_response_ctx *response, void *user)
{
    ARG_UNUSED(request);
    const struct mb_asset *asset = user;
    struct asset_transfer *state = NULL, *empty = NULL;
    k_mutex_lock(&asset_transfers_lock, K_FOREVER);
    for (size_t i = 0; i < ARRAY_SIZE(transfers); ++i) {
        if (transfers[i].client == client && transfers[i].asset == asset) state = &transfers[i];
        if (!transfers[i].client && !empty) empty = &transfers[i];
    }
    if (status == HTTP_SERVER_TRANSACTION_COMPLETE || status == HTTP_SERVER_TRANSACTION_ABORTED) {
        if (state) {
            if (status == HTTP_SERVER_TRANSACTION_COMPLETE) atomic_inc(&asset_completed);
            else atomic_inc(&asset_aborted);
            memset(state, 0, sizeof(*state));
        }
        k_mutex_unlock(&asset_transfers_lock);
        return 0;
    }
    if (status != HTTP_SERVER_REQUEST_DATA_FINAL) {
        k_mutex_unlock(&asset_transfers_lock);
        return 0;
    }
    if (!state) {
        state = empty;
        if (!state) { k_mutex_unlock(&asset_transfers_lock); return -ENOMEM; }
        struct timeval timeout = {.tv_sec=5,.tv_usec=0};
        if (zsock_setsockopt(client->fd,SOL_SOCKET,SO_SNDTIMEO,&timeout,sizeof(timeout))) {
            k_mutex_unlock(&asset_transfers_lock);return -errno;
        }
        *state = (struct asset_transfer){.client = client, .asset = asset};
    }
    bool first = state->offset == 0;
    size_t count = MIN(asset->size - state->offset, ASSET_CHUNK_BYTES);
    response->body = asset->data + state->offset;
    response->body_len = count;
    if (first) {
        response->headers = asset->gzip ? gzip_headers : asset_headers;
        response->header_count = asset->gzip ? ARRAY_SIZE(gzip_headers) : ARRAY_SIZE(asset_headers);
    }
    state->offset += count;
    response->final_chunk = state->offset == asset->size;
    k_mutex_unlock(&asset_transfers_lock);
    /* A bulk body must not monopolize network servicing. Zephyr requests the
     * next response chunk after sending this one and refreshes its timer. */
    if (!first) k_sleep(K_MSEC(1));
    return 0;
}

static uint8_t ws_buffer[512];
static struct http_resource_detail_websocket vm_ws = {
    .common = {.type=HTTP_RESOURCE_TYPE_WEBSOCKET, .bitmask_of_supported_http_methods=BIT(HTTP_GET)},
    .cb=mb_ws_setup, .data_buffer=ws_buffer, .data_buffer_len=sizeof(ws_buffer),
};
HTTP_RESOURCE_DEFINE(vm_websocket, mb_http, "/ws/vm", &vm_ws);

int mb_server_start(void) {
    snprintf(content_policy, sizeof(content_policy),
        "default-src 'self' data: blob:; connect-src 'self' ws://%s; "
        "script-src 'self' 'unsafe-inline' 'unsafe-eval'; style-src 'self' 'unsafe-inline'; "
        "object-src 'none'; base-uri 'self'; form-action 'self'; frame-ancestors 'self'",
        mb_network_ip());
    return http_server_start();
}

static int status_handler(struct http_client_ctx *c,enum http_transaction_status st,
    const struct http_request_ctx *req,struct http_response_ctx *res,void *user)
{
    ARG_UNUSED(c);ARG_UNUSED(req);ARG_UNUSED(user);
    if(st!=HTTP_SERVER_REQUEST_DATA_FINAL)return 0;
    static char json[384];xrp_network_status(json,sizeof(json));
    res->body=(const uint8_t *)json;res->body_len=strlen(json);res->final_chunk=true;return 0;
}
static struct http_resource_detail_dynamic status_detail={
    .common={.type=HTTP_RESOURCE_TYPE_DYNAMIC,.bitmask_of_supported_http_methods=BIT(HTTP_GET),.content_type="application/json"},
    .cb=status_handler,
};
HTTP_RESOURCE_DEFINE(status_api,mb_http,"/api/status",&status_detail);
bool mb_same_origin(const struct http_request_ctx *req)
{
    char expected[64];snprintf(expected,sizeof(expected),"http://%s",mb_network_ip());
    bool host=false,origin=false;
    for(size_t i=0;i<req->header_count;++i){
        if(!strcasecmp(req->headers[i].name,"Host") && !strcmp(req->headers[i].value,mb_network_ip()))host=true;
        if(!strcasecmp(req->headers[i].name,"Origin") && !strcmp(req->headers[i].value,expected))origin=true;
    }
    return host && origin;
}
```
